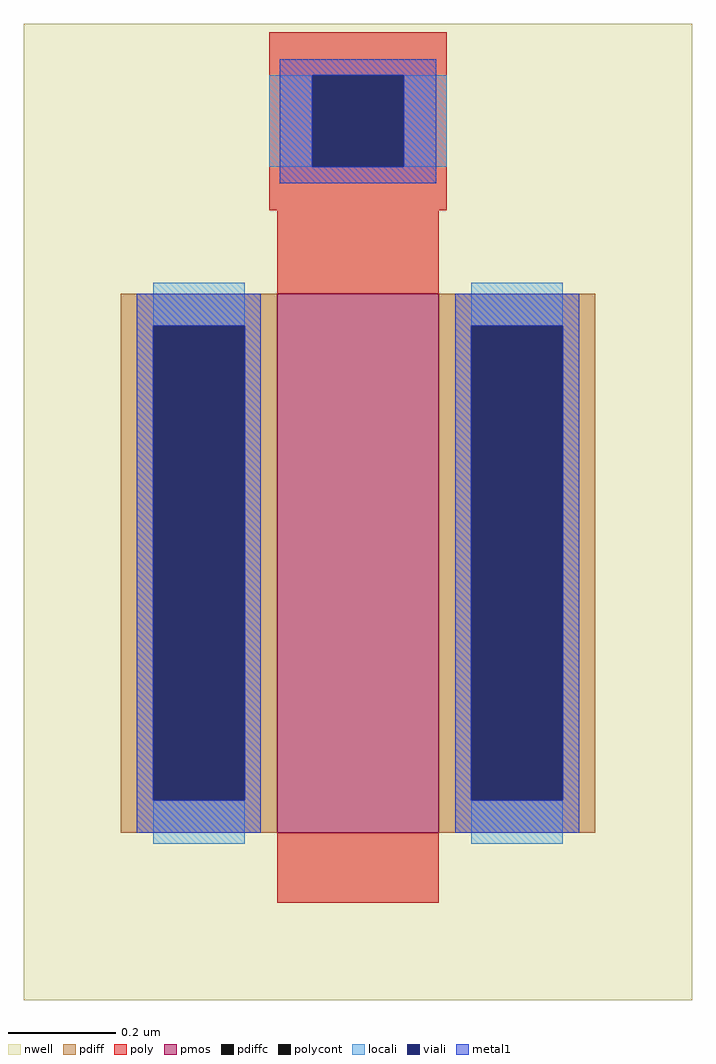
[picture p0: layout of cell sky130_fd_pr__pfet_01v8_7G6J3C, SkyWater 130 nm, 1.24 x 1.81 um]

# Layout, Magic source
magic
tech sky130B
magscale 1 2
<< nwell >>
rect -124 -198 124 164
<< pmos >>
rect -30 -136 30 64
<< pdiff >>
rect -88 52 -30 64
rect -88 -124 -76 52
rect -42 -124 -30 52
rect -88 -136 -30 -124
rect 30 52 88 64
rect 30 -124 42 52
rect 76 -124 88 52
rect 30 -136 88 -124
<< pdiffc >>
rect -76 -124 -42 52
rect 42 -124 76 52
<< poly >>
rect -33 145 33 161
rect -33 111 -17 145
rect 17 111 33 145
rect -33 95 33 111
rect -30 64 30 95
rect -30 -162 30 -136
<< polycont >>
rect -17 111 17 145
<< locali >>
rect -33 111 -17 145
rect 17 111 33 145
rect -76 52 -42 68
rect -76 -140 -42 -124
rect 42 52 76 68
rect 42 -140 76 -124
<< viali >>
rect -17 111 17 145
rect -76 -124 -42 52
rect 42 -124 76 52
<< metal1 >>
rect -29 145 29 151
rect -29 111 -17 145
rect 17 111 29 145
rect -29 105 29 111
rect -82 52 -36 64
rect -82 -124 -76 52
rect -42 -124 -36 52
rect -82 -136 -36 -124
rect 36 52 82 64
rect 36 -124 42 52
rect 76 -124 82 52
rect 36 -136 82 -124
<< properties >>
string gencell sky130_fd_pr__pfet_01v8
string library sky130
string parameters w 1 l 0.3 m 1 nf 1 diffcov 100 polycov 100 guard 0 glc 0 grc 0 gtc 0 gbc 0 tbcov 100 rlcov 100 topc 1 botc 0 poverlap 0 doverlap 1 lmin 0.15 wmin 0.42 compatible {sky130_fd_pr__pfet_01v8  sky130_fd_pr__pfet_01v8_lvt sky130_fd_pr__pfet_01v8_hvt  sky130_fd_pr__pfet_g5v0d10v5} full_metal 0 viasrc 100 viadrn 100 viagate 100 viagb 0 viagr 0 viagl 0 viagt 0
<< end >>
